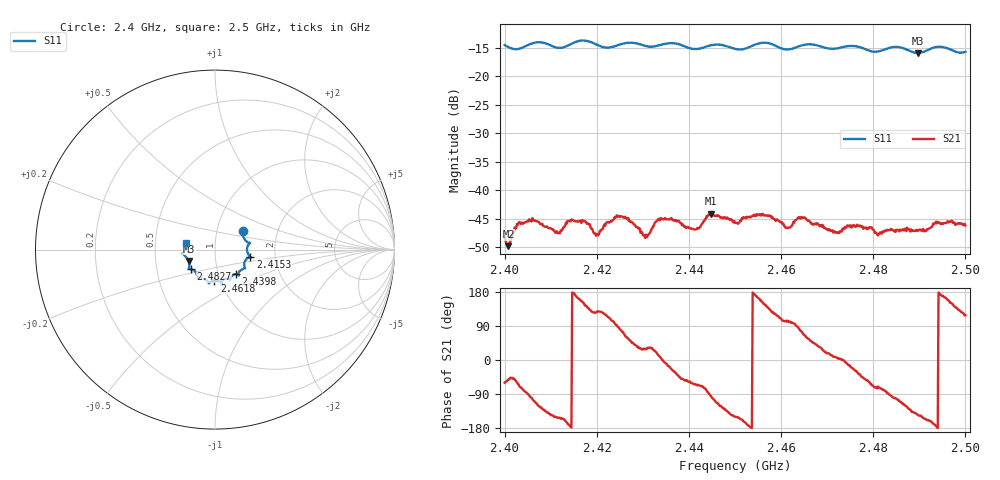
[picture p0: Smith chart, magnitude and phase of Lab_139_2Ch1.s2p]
# Hz S RI R 50
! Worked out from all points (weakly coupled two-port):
!   601 points, 2.4 GHz to 2.5 GHz, reference 50 ohm
!   highest |S21| = -44.08 dB at 2.4448 GHz (marker M1); lowest = -49.8 dB at 2.4008 GHz (marker M2)
!   lowest |S11| = -15.9 dB at 2.4897 GHz (marker M3), VSWR 1.38, Z = 36.9 - j4.84 ohm
!   |S11| at or under -10 dB: start of sweep to end of sweep
!   S12 and S22 are empty: the file has one direction only
!   S11 on the Smith chart (normalised r, x): 2.4 GHz: 1.33, +0.29; 2.4153 GHz: 1.48, -0.12; 2.4398 GHz: 1.21, -0.34; 2.4618 GHz: 0.94, -0.33; 2.4827 GHz: 0.75, -0.17; 2.5 GHz: 0.72, +0.06
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2.4e9  0.1555 0.1058  0.00197 -0.00337  0 0  0 0
2.400833e9  0.1548 0.0931  0.00202 -0.00253  0 0  0 0
2.403167e9  0.1658 0.0565  0.00192 -0.00491  0 0  0 0
2.4065e9  0.1941 0.0371  -0.00178 -0.00515  0 0  0 0
2.4115e9  0.1782 0.00713  -0.00373 -0.00192  0 0  0 0
2.415333e9  0.1962 -0.0392  -0.00529 0.000821  0 0  0 0
2.416667e9  0.202 -0.0432  -0.00471 0.00212  0 0  0 0
2.42e9  0.1847 -0.0456  -0.00242 0.00319  0 0  0 0
2.425667e9  0.1662 -0.1  0.00161 0.00561  0 0  0 0
2.4305e9  0.1478 -0.112  0.00332 0.0019  0 0  0 0
2.433333e9  0.1304 -0.1338  0.00546 0.00122  0 0  0 0
2.439833e9  0.1154 -0.1362  0.00258 -0.00402  0 0  0 0
2.444833e9  0.0838 -0.1682  -0.000687 -0.00622  0 0  0 0
2.45e9  0.0652 -0.162  -0.00448 -0.00261  0 0  0 0
2.455667e9  0.0377 -0.1929  -0.00553 0.00233  0 0  0 0
2.461833e9  -0.00327 -0.173  -0.000958 0.00462  0 0  0 0
2.464167e9  -0.0291 -0.183  0.00126 0.0055  0 0  0 0
2.466667e9  -0.0347 -0.188  0.00333 0.00378  0 0  0 0
2.482667e9  -0.135 -0.1087  0.000569 -0.00436  0 0  0 0
2.483333e9  -0.1402 -0.1084  5.42e-05 -0.00447  0 0  0 0
2.489667e9  -0.1473 -0.0638  -0.00362 -0.00252  0 0  0 0
2.5e9  -0.1599 0.0389  -0.00231 0.00434  0 0  0 0
